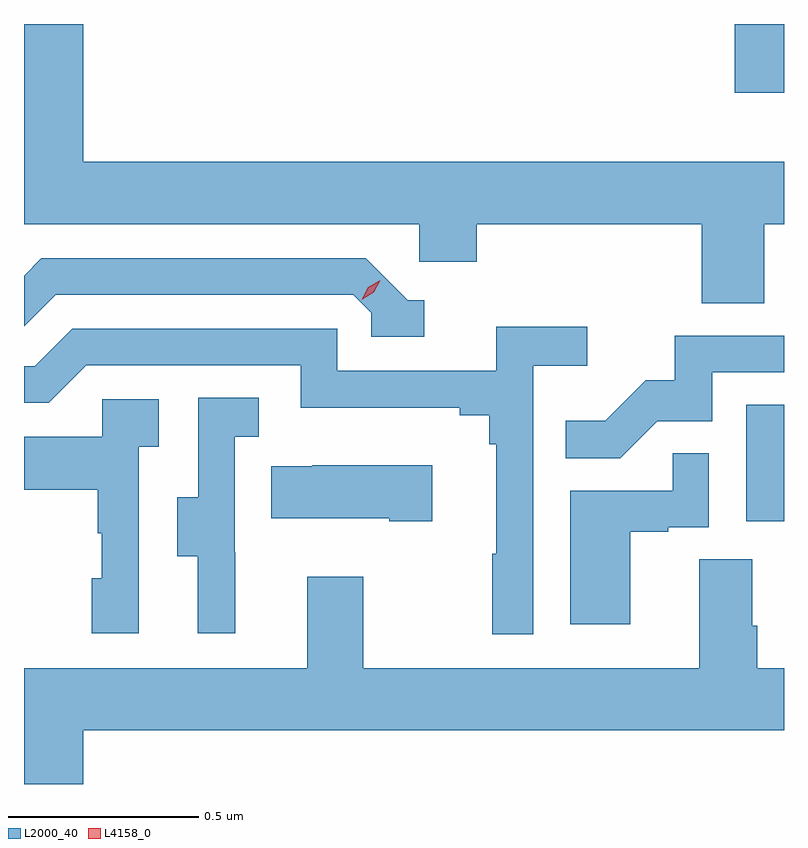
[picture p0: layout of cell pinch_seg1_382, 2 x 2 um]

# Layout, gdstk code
import gdstk
lib = gdstk.Library(unit=1e-6, precision=1e-09)
def R(c, l, rs):  # rectangles x0, y0, x1, y1
    for r in rs: c.add(gdstk.rectangle(r[:2], r[2:], *l))
def P(c, l, *ps):  # polygons
    for p in ps: c.add(gdstk.Polygon(p, *l))
L2000_40 = (2000, 40)
L4158_0 = (4158, 0)

pinch_seg1_382 = lib.new_cell('pinch_seg1_382')
R(pinch_seg1_382, L2000_40, [(982.1,524.31,982.2,524.617), (982.07,525.438,982.2,525.619)])
P(pinch_seg1_382, L2000_40, [(982.148,525.092),(982.2,525.092),(982.2,525.256),(980.356,525.256),(980.356,525.619),(980.2,525.619),(980.2,525.092),(981.24,525.092),(981.24,524.994),(981.392,524.994),(981.392,525.092),(981.983,525.092),(981.983,524.884),(982.148,524.884)],
  [(981.253,524.892),(981.21,524.892),(981.099,525.003),(980.246,525.003),(980.2,524.957),(980.2,524.824),(980.283,524.907),(981.066,524.907),(981.114,524.859),(981.114,524.796),(981.253,524.796)],
  [(981.54,524.72),(981.682,524.72),(981.682,524.822),(981.443,524.822),(981.443,524.706),(981.024,524.706),(981.024,524.817),(980.327,524.817),(980.228,524.718),(980.2,524.718),(980.2,524.622),(980.265,524.622),(980.364,524.721),(980.928,524.721),(980.928,524.609),(981.347,524.609),(981.347,524.59),(981.424,524.59),(981.424,524.513),(981.443,524.513),(981.443,524.225),(981.432,524.225),(981.432,524.013),(981.54,524.013)],
  [(981.867,524.574),(982.011,524.574),(982.011,524.703),(982.2,524.703),(982.2,524.799),(981.913,524.799),(981.913,524.682),(981.836,524.682),(981.729,524.575),(981.625,524.575),(981.625,524.476),(981.769,524.476)],
  [(980.756,524.229),(980.754,524.229),(980.754,524.533),(980.818,524.533),(980.818,524.636),(980.658,524.636),(980.658,524.373),(980.603,524.373),(980.603,524.218),(980.657,524.218),(980.657,524.016),(980.756,524.016)],
  [(980.502,524.507),(980.554,524.507),(980.554,524.631),(980.406,524.631),(980.406,524.533),(980.2,524.533),(980.2,524.393),(980.394,524.393),(980.394,524.279),(980.404,524.279),(980.404,524.16),(980.378,524.16),(980.378,524.016),(980.502,524.016)],
  [(981.796,524.283),(981.896,524.283),(981.896,524.295),(982.002,524.295),(982.002,524.489),(981.907,524.489),(981.907,524.391),(981.638,524.391),(981.638,524.04),(981.796,524.04)],
  [(981.274,524.458),(980.959,524.458),(980.959,524.455),(980.851,524.455),(980.851,524.318),(981.161,524.318),(981.161,524.311),(981.274,524.311)],
  [(980.356,523.76),(982.2,523.76),(982.2,523.924),(982.13,523.924),(982.13,524.036),(982.117,524.036),(982.117,524.21),(981.977,524.21),(981.977,523.924),(981.093,523.924),(981.093,524.164),(980.945,524.164),(980.945,523.924),(980.2,523.924),(980.2,523.619),(980.356,523.619)])
P(pinch_seg1_382, L4158_0, [(981.089,524.894),(981.089,524.894),(981.106,524.926),(981.137,524.945),(981.137,524.945),(981.137,524.945),(981.12,524.913),(981.089,524.894)])

lib.write_gds('pinch_seg1_382.gds')
